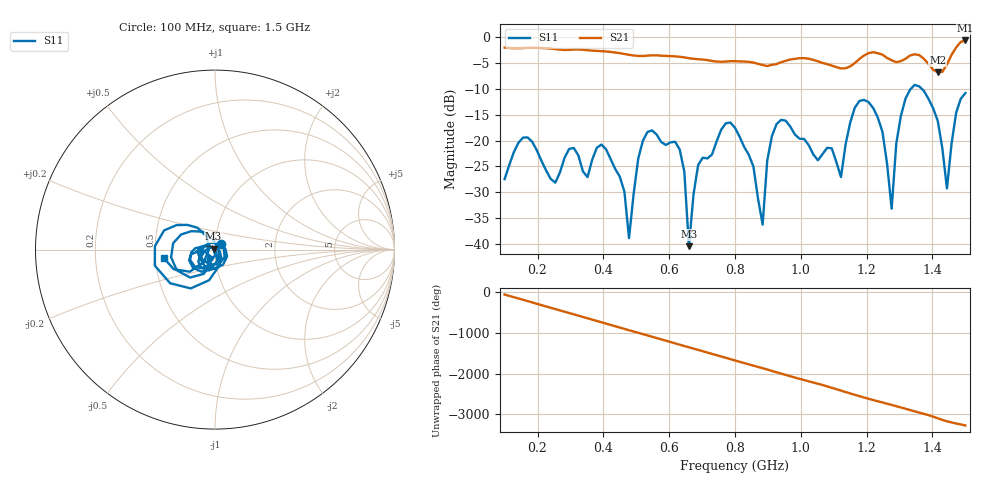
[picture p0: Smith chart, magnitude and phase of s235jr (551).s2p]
! NanoVNA-App
! Date: 2025-09-25 15:08:27
! Start: 100MHz Stop: 1,5GHz Points: 101
! S-Parameter data: F S11 S21 S12 S22
# Hz S RI R 50
!  Frequency  S11_Real  S11_Imag  S21_Real  S21_Imag  S12_Real  S12_Imag  S22_Real  S22_Imag
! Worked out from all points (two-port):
!   101 points, 100 MHz to 1.5 GHz, reference 50 ohm
!   highest |S21| = -0.58 dB at 1.5 GHz (marker M1); lowest = -6.8 dB at 1.416 GHz (marker M2)
!   |S21| within 3 dB of the highest: start of sweep to 506 MHz; 523 MHz to 592.9 MHz (69.9 MHz wide, 12.5 % of centre) (the widest 2 of 5)
!   lowest |S11| = -40.5 dB at 660 MHz (marker M3), VSWR 1.02, Z = 49.2 + j0.532 ohm
!   |S11| at or under -10 dB: start of sweep to 1.334 GHz; 1.368 GHz to end of sweep
!   S12 and S22 are empty: the file has one direction only
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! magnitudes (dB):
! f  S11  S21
! 100 MHz  -27.5  -2.0
! 156 MHz  -19.4  -2.0
! 338 MHz  -26.0  -2.4
! 408 MHz  -21.7  -2.7
! 478 MHz  -38.9  -3.4
! 520 MHz  -20.0  -3.6
! 576 MHz  -20.3  -3.5
! 632 MHz  -21.7  -3.7
! 660 MHz  -40.5  -4.0
! 688 MHz  -24.7  -4.2
! 800 MHz  -17.5  -4.6
! 884 MHz  -36.3  -5.3
! 926 MHz  -16.8  -5.2
! 1.038 GHz  -22.7  -4.4
! 1.122 GHz  -27.1  -6.0
! 1.206 GHz  -12.5  -3.0
! 1.276 GHz  -33.2  -4.4
! 1.29 GHz  -20.6  -4.8
! 1.332 GHz  -10.1  -3.5
! 1.416 GHz  -16.2  -6.8
! 1.444 GHz  -29.3  -5.2
! 1.5 GHz  -10.8  -0.6
